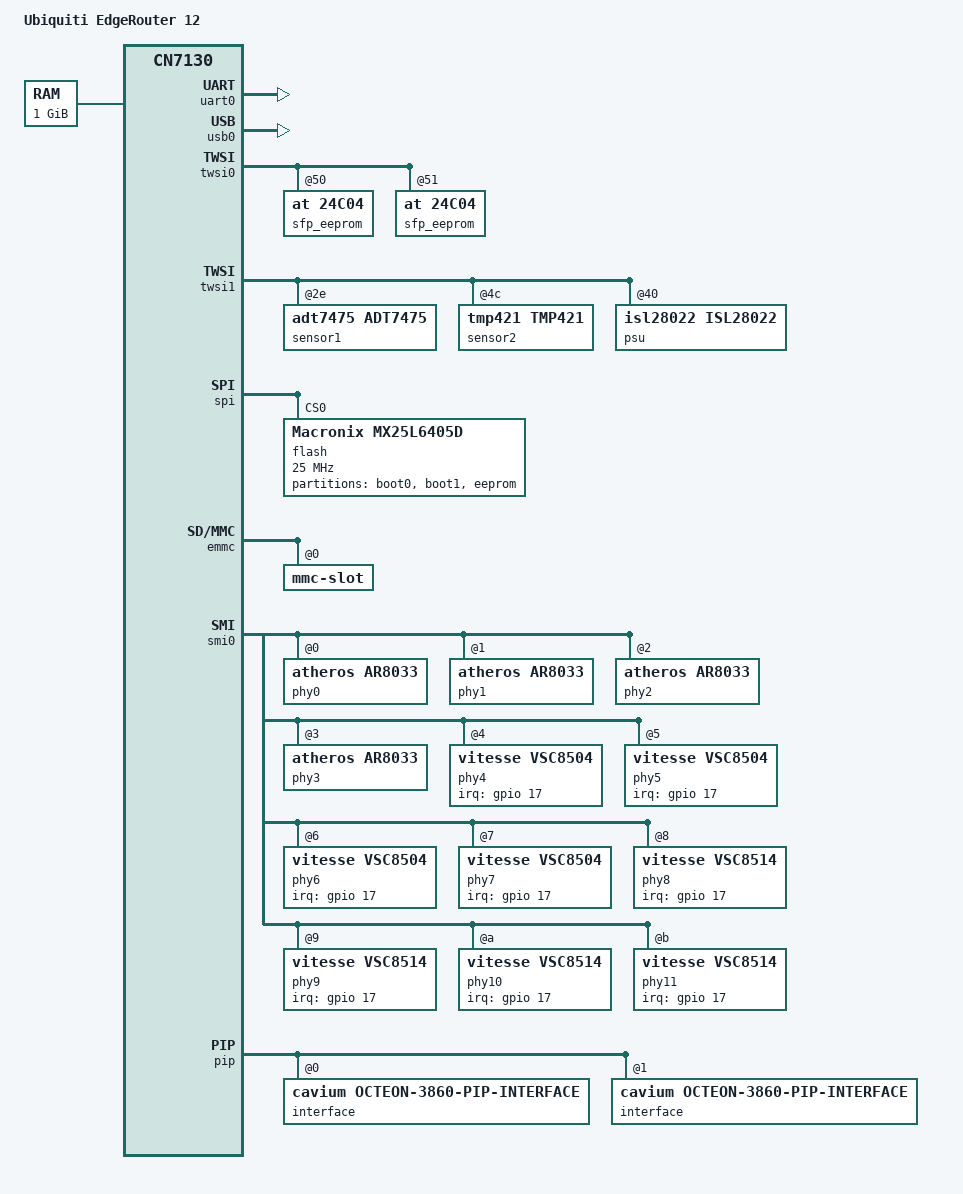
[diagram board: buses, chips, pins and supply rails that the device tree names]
// SPDX-License-Identifier: GPL-2.0-or-later OR MIT

#include "cn7130.dtsi"

/ {
	compatible = "ubnt,edgerouter-12", "cavium,cn7130";
	model = "Ubiquiti EdgeRouter 12";

	memory@0 {
		device_type = "memory";
		reg = <0x00 0x00000000>,
		      <0x00 0x10000000>,
		      <0x00 0x20000000>,
		      <0x00 0x30000000>;
	};
};

&uart0 {
	status = "okay";
};

&usb0 {
	status = "okay";
};

&twsi0 {
	status = "okay";

	sfp_eeprom@50 {
		compatible = "at,24c04";
		reg = <0x50>;
	};
	sfp_eeprom@51 {
		reg = <0x51>;
		compatible = "at,24c04";
	};
};

&twsi1 {
	status = "okay";

	sensor1@2e {
		#address-cells = <1>;
		#size-cells = <0>;
		compatible = "adt7475,adt7475";
		reg = <0x2e>;
	};
	sensor2@4c {
		#address-cells = <1>;
		#size-cells = <0>;
		compatible = "tmp421,tmp421";
		reg = <0x4c>;
	};
	psu@40 {
		/* No Driver */
		compatible = "isl28022,isl28022";
		reg = <0x40>;
	};
};

&spi {
	status = "okay";

	flash@0 {
		#address-cells = <1>;
		#size-cells = <1>;
		address-width = <24>;
		mode = <0x00>;
		spi-max-frequency = <25000000>;
		compatible = "Macronix,mx25l6405d", "spi-flash";
		size = <0x200000>;
		pagesize = <0x10000>;
		reg = <0x00>;

		boot0: partition@0 {
			label = "boot0";
			read-only;
			reg = <0x0 0x200000>;
		};

		boot1: partition@200000 {
			label = "boot1";
			read-only;
			reg = <0x200000 0x200000>;
		};

		eeprom: partition@400000 {
			label = "eeprom";
			read-only;
			reg = <0x400000 0x10000>;
		};
	};
};

&emmc {
	status = "okay";

	mmc-slot@0 {
		compatible = "mmc-slot";
		non-removable;
		max-frequency = <26000000>;
		voltage-ranges = <3300 3300>;
		bus-width = <8>;
		reg = <0x00>;
	};
};

&smi0 {
	status = "okay";

	phy0: ethernet-phy@0 {
		compatible = "atheros,ar8033", "ethernet-phy-ieee802.3-c22";
		reg = <0>;
		cavium,qlm-trim = "6,sgmii";
	};
	phy1: ethernet-phy@1 {
		compatible = "atheros,ar8033", "ethernet-phy-ieee802.3-c22";
		reg = <1>;
		cavium,qlm-trim = "6,sgmii";
	};
	phy2: ethernet-phy@2 {
		compatible = "atheros,ar8033", "ethernet-phy-ieee802.3-c22";
		reg = <2>;
		cavium,qlm-trim = "6,sgmii";
	};
	phy3: ethernet-phy@3 {
		compatible = "atheros,ar8033", "ethernet-phy-ieee802.3-c22";
		reg = <3>;
		cavium,qlm-trim = "6,sgmii";
	};
	phy4: ethernet-phy@4 {
		compatible = "vitesse,vsc8504", "ethernet-phy-ieee802.3-c22";
		interrupts = <17 8>;
		interrupt-parent = <&gpio>;
		reg = <4>;
		optical-media-type = "1000bx";
	};
	phy5: ethernet-phy@5 {
		compatible = "vitesse,vsc8504", "ethernet-phy-ieee802.3-c22";
		interrupts = <17 8>;
		interrupt-parent = <&gpio>;
		reg = <5>;
		optical-media-type = "1000bx";
	};
	phy6: ethernet-phy@6 {
		compatible = "vitesse,vsc8504", "ethernet-phy-ieee802.3-c22";
		interrupts = <17 8>;
		interrupt-parent = <&gpio>;
		reg = <6>;
	};
	phy7: ethernet-phy@7 {
		compatible = "vitesse,vsc8504", "ethernet-phy-ieee802.3-c22";
		reg = <7>;
		interrupts = <17 8>;
		interrupt-parent = <&gpio>;
	};
	phy8: ethernet-phy@8 {
		compatible = "vitesse,vsc8514", "ethernet-phy-ieee802.3-c22";
		reg = <8>;
		interrupts = <17 8>;
		interrupt-parent = <&gpio>;
	};
	phy9: ethernet-phy@9 {
		compatible = "vitesse,vsc8514", "ethernet-phy-ieee802.3-c22";
		reg = <9>;
		interrupts = <17 8>;
		interrupt-parent = <&gpio>;
	};
	phy10: ethernet-phy@a {
		compatible = "vitesse,vsc8514", "ethernet-phy-ieee802.3-c22";
		reg = <10>;
		interrupts = <17 8>;
		interrupt-parent = <&gpio>;
	};
	phy11: ethernet-phy@b {
		compatible = "vitesse,vsc8514", "ethernet-phy-ieee802.3-c22";
		reg = <11>;
		interrupts = <17 8>;
		interrupt-parent = <&gpio>;
	};
};

&pip {
	status = "okay";

	interface@0 {
		#address-cells = <1>;
		#size-cells = <0>;
		compatible = "cavium,octeon-3860-pip-interface";
		reg = <0>;

		ethernet@0 {
			compatible = "cavium,octeon-3860-pip-port";
			reg = <0>;
			phy-mode = "sgmii";
			phy-handle = <&phy4>;
			mtd-mac-address = <&eeprom 6>;
		};
		ethernet@1 {
			compatible = "cavium,octeon-3860-pip-port";
			reg = <1>;
			phy-mode = "sgmii";
			phy-handle = <&phy5>;
			mtd-mac-address = <&eeprom 6>;
			mtd-mac-address-increment = <(1)>;
		};
		ethernet@2 {
			compatible = "cavium,octeon-3860-pip-port";
			reg = <2>;
			phy-mode = "sgmii";
			phy-handle = <&phy6>;
			mtd-mac-address = <&eeprom 6>;
			mtd-mac-address-increment = <(2)>;
		};
		ethernet@3 {
			compatible = "cavium,octeon-3860-pip-port";
			reg = <3>;
			phy-mode = "sgmii";
			phy-handle = <&phy7>;
			mtd-mac-address = <&eeprom 6>;
			mtd-mac-address-increment = <(3)>;
		};
	};

	interface@1 {
		#address-cells = <1>;
		#size-cells = <0>;
		compatible = "cavium,octeon-3860-pip-interface";
		reg = <1>;

		ethernet@0 {
			compatible = "cavium,octeon-3860-pip-port";
			reg = <0>;
			cavium,force_link_up,1000;
			local-mac-address = [18 e8 29 4e 20 70];
			fixed-link {
				speed = <1000>;
				full-duplex;
			};
		};

		ethernet@1 {
			compatible = "cavium,octeon-3860-pip-port";
			reg = <1>;
			cavium,force_link_up,1000;
			local-mac-address = [18 e8 29 4e 20 71];
			fixed-link {
				speed = <1000>;
				full-duplex;
			};
		};

		ethernet@2 {
			compatible = "cavium,octeon-3860-pip-port";
			reg = <2>;
			cavium,force_link_up,1000;
			local-mac-address = [18 e8 29 4e 20 72];
			fixed-link {
				speed = <1000>;
				full-duplex;
			};
		};

		ethernet@3 {
			compatible = "cavium,octeon-3860-pip-port";
			reg = <3>;
			cavium,force_link_up,1000;
			local-mac-address = [18 e8 29 4e 20 73];
			fixed-link {
				speed = <1000>;
				full-duplex;
			};
		};
	};
};
